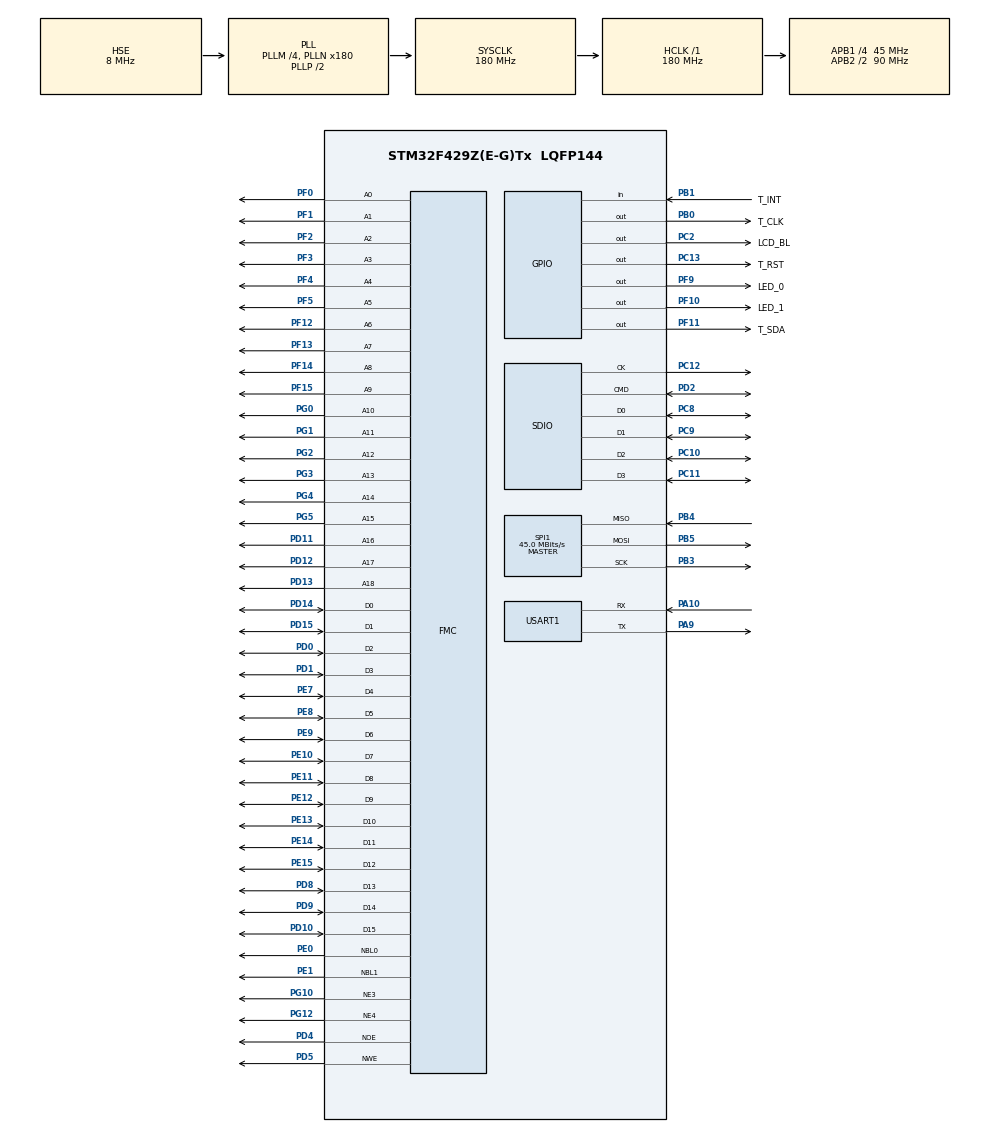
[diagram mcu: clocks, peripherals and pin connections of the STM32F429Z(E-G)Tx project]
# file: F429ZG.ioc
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DMA2D.ColorMode=DMA2D_OUTPUT_RGB565
DMA2D.Mode=DMA2D_M2M
Dma.Request0=SDIO_RX
Dma.Request1=SDIO_TX
Dma.SDIO_RX.0.Direction=DMA_PERIPH_TO_MEMORY
Dma.SDIO_RX.0.FIFOMode=DMA_FIFOMODE_ENABLE
Dma.SDIO_RX.0.FIFOThreshold=DMA_FIFO_THRESHOLD_FULL
Dma.SDIO_RX.0.Instance=DMA2_Stream3
Dma.SDIO_RX.0.MemBurst=DMA_MBURST_INC4
Dma.SDIO_RX.0.MemDataAlignment=DMA_MDATAALIGN_WORD
Dma.SDIO_RX.0.MemInc=DMA_MINC_ENABLE
Dma.SDIO_RX.0.Mode=DMA_PFCTRL
Dma.SDIO_RX.0.PeriphBurst=DMA_PBURST_INC4
Dma.SDIO_RX.0.PeriphDataAlignment=DMA_PDATAALIGN_WORD
Dma.SDIO_RX.0.PeriphInc=DMA_PINC_DISABLE
Dma.SDIO_RX.0.Priority=DMA_PRIORITY_VERY_HIGH
Dma.SDIO_TX.1.Direction=DMA_MEMORY_TO_PERIPH
Dma.SDIO_TX.1.FIFOMode=DMA_FIFOMODE_ENABLE
Dma.SDIO_TX.1.FIFOThreshold=DMA_FIFO_THRESHOLD_FULL
Dma.SDIO_TX.1.Instance=DMA2_Stream6
Dma.SDIO_TX.1.MemBurst=DMA_MBURST_INC4
Dma.SDIO_TX.1.MemDataAlignment=DMA_MDATAALIGN_WORD
Dma.SDIO_TX.1.MemInc=DMA_MINC_ENABLE
Dma.SDIO_TX.1.Mode=DMA_PFCTRL
Dma.SDIO_TX.1.PeriphBurst=DMA_PBURST_INC4
Dma.SDIO_TX.1.PeriphDataAlignment=DMA_PDATAALIGN_WORD
Dma.SDIO_TX.1.PeriphInc=DMA_PINC_DISABLE
Dma.SDIO_TX.1.Priority=DMA_PRIORITY_VERY_HIGH
FATFS._MAX_SS=4096
FMC.AddressSetupTime1=3
FMC.AddressSetupTime2=0
FMC.BusTurnAroundDuration1=0
FMC.BusTurnAroundDuration2=0
FMC.DataSetupTime1=3
FMC.DataSetupTime2=9
FMC.WriteOperation2=FMC_WRITE_OPERATION_ENABLE
FREERTOS.Tasks01=GUITask,8,1024,Lvgl_Task,Default,NULL,Dynamic,NULL,NULL;TouchTask,24,128,Touch_Task,Default,NULL,Dynamic,NULL,NULL
FREERTOS.configUSE_NEWLIB_REENTRANT=0
Mcu.Family=STM32F4
Mcu.Name=STM32F429Z(E-G)Tx
Mcu.Package=LQFP144
NVIC.DMA2D_IRQn=true\:5\:0\:false\:false\:true\:true\:true\:true
NVIC.DMA2_Stream3_IRQn=true\:5\:0\:false\:false\:true\:true\:false\:true
NVIC.DMA2_Stream6_IRQn=true\:5\:0\:false\:false\:true\:true\:false\:true
NVIC.PriorityGroup=NVIC_PRIORITYGROUP_4
NVIC.SDIO_IRQn=true\:5\:0\:false\:false\:true\:true\:true\:true
NVIC.TIM6_DAC_IRQn=true\:0\:0\:false\:false\:true\:false\:false\:true
NVIC.TimeBase=TIM6_DAC_IRQn
NVIC.TimeBaseIP=TIM6
PA10.Mode=Asynchronous
PA10.Signal=USART1_RX
PA13.Mode=Serial_Wire
PA13.Signal=SYS_JTMS-SWDIO
PA14.Mode=Serial_Wire
PA14.Signal=SYS_JTCK-SWCLK
PA9.Mode=Asynchronous
PA9.Signal=USART1_TX
PB0.GPIO_Label=T_CLK
PB0.GPIO_Speed=GPIO_SPEED_FREQ_HIGH
PB0.Signal=GPIO_Output
PB1.GPIO_Label=T_INT
PB1.Signal=GPIO_Input
PB3.Mode=Full_Duplex_Master
PB3.Signal=SPI1_SCK
PB4.Mode=Full_Duplex_Master
PB4.Signal=SPI1_MISO
PB5.Mode=Full_Duplex_Master
PB5.Signal=SPI1_MOSI
PC10.Mode=SD_4_bits_Wide_bus
PC10.Signal=SDIO_D2
PC11.Mode=SD_4_bits_Wide_bus
PC11.Signal=SDIO_D3
PC12.Mode=SD_4_bits_Wide_bus
PC12.Signal=SDIO_CK
PC13.GPIO_Label=T_RST
PC13.Signal=GPIO_Output
PC14/OSC32_IN.Mode=LSE-External-Clock-Source
PC14/OSC32_IN.Signal=RCC_OSC32_IN
PC15/OSC32_OUT.Mode=LSE-External-Clock-Source
PC15/OSC32_OUT.Signal=RCC_OSC32_OUT
PC2.GPIO_Label=LCD_BL
PC2.Signal=GPIO_Output
PC8.Mode=SD_4_bits_Wide_bus
PC8.Signal=SDIO_D0
PC9.Mode=SD_4_bits_Wide_bus
PC9.Signal=SDIO_D1
PD0.Signal=FMC_D2_DA2
PD1.Signal=FMC_D3_DA3
PD10.Signal=FMC_D15_DA15
PD11.Signal=FMC_A16_CLE
PD12.Signal=FMC_A17_ALE
PD13.Signal=FMC_A18
PD14.Signal=FMC_D0_DA0
PD15.Signal=FMC_D1_DA1
PD2.Mode=SD_4_bits_Wide_bus
PD2.Signal=SDIO_CMD
PD4.Signal=FMC_NOE
PD5.Signal=FMC_NWE
PD8.Signal=FMC_D13_DA13
PD9.Signal=FMC_D14_DA14
PE0.Signal=FMC_NBL0
PE1.Signal=FMC_NBL1
PE10.Signal=FMC_D7_DA7
PE11.Signal=FMC_D8_DA8
PE12.Signal=FMC_D9_DA9
PE13.Signal=FMC_D10_DA10
PE14.Signal=FMC_D11_DA11
PE15.Signal=FMC_D12_DA12
PE7.Signal=FMC_D4_DA4
PE8.Signal=FMC_D5_DA5
PE9.Signal=FMC_D6_DA6
PF0.Signal=FMC_A0
PF1.Signal=FMC_A1
PF10.GPIO_Label=LED_1
PF10.Signal=GPIO_Output
PF11.GPIO_Label=T_SDA
PF11.GPIO_ModeDefaultOutputPP=GPIO_MODE_OUTPUT_OD
PF11.GPIO_Speed=GPIO_SPEED_FREQ_HIGH
PF11.Signal=GPIO_Output
PF12.Signal=FMC_A6
PF13.Signal=FMC_A7
PF14.Signal=FMC_A8
PF15.Signal=FMC_A9
PF2.Signal=FMC_A2
PF3.Signal=FMC_A3
PF4.Signal=FMC_A4
PF5.Signal=FMC_A5
PF9.GPIO_Label=LED_0
PF9.Signal=GPIO_Output
PG0.Signal=FMC_A10
PG1.Signal=FMC_A11
PG10.Mode=NorPsramChipSelect3_2
PG10.Signal=FMC_NE3
PG12.Mode=NorPsramChipSelect4_1
PG12.Signal=FMC_NE4
PG2.Signal=FMC_A12
PG3.Signal=FMC_A13
PG4.Signal=FMC_A14_BA0
PG5.Signal=FMC_A15_BA1
PH0/OSC_IN.Mode=HSE-External-Oscillator
PH0/OSC_IN.Signal=RCC_OSC_IN
PH1/OSC_OUT.Mode=HSE-External-Oscillator
PH1/OSC_OUT.Signal=RCC_OSC_OUT
ProjectManager.HeapSize=0x400
ProjectManager.StackSize=0x800
ProjectManager.TargetToolchain=MDK-ARM V5.27
RCC.48MHZClocksFreq_Value=45000000
RCC.AHBFreq_Value=180000000
RCC.APB1CLKDivider=RCC_HCLK_DIV4
RCC.APB1Freq_Value=45000000
RCC.APB1TimFreq_Value=90000000
RCC.APB2CLKDivider=RCC_HCLK_DIV2
RCC.APB2Freq_Value=90000000
RCC.APB2TimFreq_Value=180000000
RCC.CortexFreq_Value=180000000
RCC.HCLKFreq_Value=180000000
RCC.HSE_VALUE=8000000
RCC.HSI_VALUE=16000000
RCC.LSE_VALUE=32768
RCC.PLLM=4
RCC.PLLN=180
RCC.PLLQ=8
RCC.PLLSourceVirtual=RCC_PLLSOURCE_HSE
RCC.SYSCLKFreq_VALUE=180000000
RCC.SYSCLKSource=RCC_SYSCLKSOURCE_PLLCLK
RCC.VCOOutputFreq_Value=360000000
SDIO.ClockDiv=8
SH.FMC_A0.0=FMC_A0,19b-a2
SH.FMC_A1.0=FMC_A1,19b-a2
SH.FMC_A10.0=FMC_A10,19b-a2
SH.FMC_A11.0=FMC_A11,19b-a2
SH.FMC_A12.0=FMC_A12,19b-a2
SH.FMC_A13.0=FMC_A13,19b-a2
SH.FMC_A14_BA0.0=FMC_A14,19b-a2
SH.FMC_A15_BA1.0=FMC_A15,19b-a2
SH.FMC_A16_CLE.0=FMC_A16,19b-a2
SH.FMC_A17_ALE.0=FMC_A17,19b-a2
SH.FMC_A18.0=FMC_A18,19b-a2
SH.FMC_A2.0=FMC_A2,19b-a2
SH.FMC_A3.0=FMC_A3,19b-a2
SH.FMC_A4.0=FMC_A4,19b-a2
SH.FMC_A5.0=FMC_A5,19b-a2
SH.FMC_A6.0=FMC_A6,A6_1
SH.FMC_A6.1=FMC_A6,19b-a2
SH.FMC_A7.0=FMC_A7,19b-a2
SH.FMC_A8.0=FMC_A8,19b-a2
SH.FMC_A9.0=FMC_A9,19b-a2
SH.FMC_D0_DA0.0=FMC_D0,16b-d1
SH.FMC_D0_DA0.1=FMC_D0,16b-d2
SH.FMC_D10_DA10.0=FMC_D10,16b-d1
SH.FMC_D10_DA10.1=FMC_D10,16b-d2
SH.FMC_D11_DA11.0=FMC_D11,16b-d1
SH.FMC_D11_DA11.1=FMC_D11,16b-d2
SH.FMC_D12_DA12.0=FMC_D12,16b-d1
SH.FMC_D12_DA12.1=FMC_D12,16b-d2
SH.FMC_D13_DA13.0=FMC_D13,16b-d1
SH.FMC_D13_DA13.1=FMC_D13,16b-d2
SH.FMC_D14_DA14.0=FMC_D14,16b-d1
SH.FMC_D14_DA14.1=FMC_D14,16b-d2
SH.FMC_D15_DA15.0=FMC_D15,16b-d1
SH.FMC_D15_DA15.1=FMC_D15,16b-d2
SH.FMC_D1_DA1.0=FMC_D1,16b-d1
SH.FMC_D1_DA1.1=FMC_D1,16b-d2
SH.FMC_D2_DA2.0=FMC_D2,16b-d1
SH.FMC_D2_DA2.1=FMC_D2,16b-d2
SH.FMC_D3_DA3.0=FMC_D3,16b-d1
SH.FMC_D3_DA3.1=FMC_D3,16b-d2
SH.FMC_D4_DA4.0=FMC_D4,16b-d1
SH.FMC_D4_DA4.1=FMC_D4,16b-d2
SH.FMC_D5_DA5.0=FMC_D5,16b-d1
SH.FMC_D5_DA5.1=FMC_D5,16b-d2
SH.FMC_D6_DA6.0=FMC_D6,16b-d1
SH.FMC_D6_DA6.1=FMC_D6,16b-d2
SH.FMC_D7_DA7.0=FMC_D7,16b-d1
SH.FMC_D7_DA7.1=FMC_D7,16b-d2
SH.FMC_D8_DA8.0=FMC_D8,16b-d1
SH.FMC_D8_DA8.1=FMC_D8,16b-d2
SH.FMC_D9_DA9.0=FMC_D9,16b-d1
SH.FMC_D9_DA9.1=FMC_D9,16b-d2
SH.FMC_NBL0.0=FMC_NBL0,2ByteEnable2
SH.FMC_NBL1.0=FMC_NBL1,2ByteEnable2
SH.FMC_NOE.0=FMC_NOE,Lcd1
SH.FMC_NOE.1=FMC_NOE,Sram2
SH.FMC_NWE.0=FMC_NWE,Lcd1
SH.FMC_NWE.1=FMC_NWE,Sram2
SPI1.CalculateBaudRate=45.0 MBits/s
SPI1.Direction=SPI_DIRECTION_2LINES
SPI1.Mode=SPI_MODE_MASTER
SPI1.VirtualType=VM_MASTER
TIM7.AutoReloadPreload=TIM_AUTORELOAD_PRELOAD_ENABLE
TIM7.Period=0xFFFF-1
TIM7.Prescaler=180-1
USART1.VirtualMode=VM_ASYNC
VP_DMA2D_VS_DMA2D.Mode=DMA2D_Activate
VP_FATFS_VS_SDIO.Mode=SDIO
VP_FREERTOS_VS_CMSIS_V2.Mode=CMSIS_V2
VP_SYS_VS_tim6.Mode=TIM6
VP_TIM7_VS_ClockSourceINT.Mode=Enable_Timer
board=custom

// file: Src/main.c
/* USER CODE BEGIN Header */
/**
  ******************************************************************************
  * @file           : main.c
  * @brief          : Main program body
  ******************************************************************************
  * @attention
  *
  * <h2><center>&copy; Copyright (c) 2020 STMicroelectronics.
  * All rights reserved.</center></h2>
  *
  * This software component is licensed by ST under BSD 3-Clause license,
  * the "License"; You may not use this file except in compliance with the
  * License. You may obtain a copy of the License at:
  *                        opensource.org/licenses/BSD-3-Clause
  *
  ******************************************************************************
  */
/* USER CODE END Header */

#include "main.h"
#include "cmsis_os.h"
#include "dma.h"
#include "dma2d.h"
#include "fatfs.h"
#include "sdio.h"
#include "spi.h"
#include "tim.h"
#include "usart.h"
#include "gpio.h"
#include "fmc.h"

void SystemClock_Config(void);
void MX_FREERTOS_Init(void);

int main(void)
{

  /* MCU Configuration--------------------------------------------------------*/

  /* Reset of all peripherals, Initializes the Flash interface and the Systick. */
  HAL_Init();

  /* Configure the system clock */
  SystemClock_Config();

  /* Initialize all configured peripherals */
  MX_GPIO_Init();
  MX_DMA_Init();
  MX_DMA2D_Init();
  MX_FMC_Init();
  MX_SPI1_Init();
  MX_USART1_UART_Init();
  MX_TIM7_Init();
  MX_SDIO_SD_Init();
  MX_FATFS_Init();
  /* USER CODE BEGIN 2 */
  //SD_Test();

  /* USER CODE END 2 */

  /* Init scheduler */
  osKernelInitialize();  /* Call init function for freertos objects (in freertos.c) */
  MX_FREERTOS_Init();
  /* Start scheduler */
  osKernelStart();

  /* We should never get here as control is now taken by the scheduler */
  /* Infinite loop */
  while (1)
  {

  }
}

void SystemClock_Config(void)
{
  RCC_OscInitTypeDef RCC_OscInitStruct = {0};
  RCC_ClkInitTypeDef RCC_ClkInitStruct = {0};

  /** Configure the main internal regulator output voltage
  */
  __HAL_RCC_PWR_CLK_ENABLE();
  __HAL_PWR_VOLTAGESCALING_CONFIG(PWR_REGULATOR_VOLTAGE_SCALE1);
  /** Initializes the CPU, AHB and APB busses clocks
  */
  RCC_OscInitStruct.OscillatorType = RCC_OSCILLATORTYPE_HSE;
  RCC_OscInitStruct.HSEState = RCC_HSE_ON;
  RCC_OscInitStruct.PLL.PLLState = RCC_PLL_ON;
  RCC_OscInitStruct.PLL.PLLSource = RCC_PLLSOURCE_HSE;
  RCC_OscInitStruct.PLL.PLLM = 4;
  RCC_OscInitStruct.PLL.PLLN = 180;
  RCC_OscInitStruct.PLL.PLLP = RCC_PLLP_DIV2;
  RCC_OscInitStruct.PLL.PLLQ = 8;
  if (HAL_RCC_OscConfig(&RCC_OscInitStruct) != HAL_OK)
  {
    Error_Handler();
  }
  /** Activate the Over-Drive mode
  */
  if (HAL_PWREx_EnableOverDrive() != HAL_OK)
  {
    Error_Handler();
  }
  /** Initializes the CPU, AHB and APB busses clocks
  */
  RCC_ClkInitStruct.ClockType = RCC_CLOCKTYPE_HCLK|RCC_CLOCKTYPE_SYSCLK
                              |RCC_CLOCKTYPE_PCLK1|RCC_CLOCKTYPE_PCLK2;
  RCC_ClkInitStruct.SYSCLKSource = RCC_SYSCLKSOURCE_PLLCLK;
  RCC_ClkInitStruct.AHBCLKDivider = RCC_SYSCLK_DIV1;
  RCC_ClkInitStruct.APB1CLKDivider = RCC_HCLK_DIV4;
  RCC_ClkInitStruct.APB2CLKDivider = RCC_HCLK_DIV2;

  if (HAL_RCC_ClockConfig(&RCC_ClkInitStruct, FLASH_LATENCY_5) != HAL_OK)
  {
    Error_Handler();
  }
}

 /**
  * @brief  Period elapsed callback in non blocking mode
  * @note   This function is called  when TIM6 interrupt took place, inside
  * HAL_TIM_IRQHandler(). It makes a direct call to HAL_IncTick() to increment
  * a global variable "uwTick" used as application time base.
  * @param  htim : TIM handle
  * @retval None
  */
void HAL_TIM_PeriodElapsedCallback(TIM_HandleTypeDef *htim)
{
  if (htim->Instance == TIM6) {
    HAL_IncTick();
  }
}

void Error_Handler(void)
{
}

/************************ (C) COPYRIGHT STMicroelectronics *****END OF FILE****/

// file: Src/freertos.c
/* USER CODE BEGIN Header */
/**
  ******************************************************************************
  * File Name          : freertos.c
  * Description        : Code for freertos applications
  ******************************************************************************
  * @attention
  *
  * <h2><center>&copy; Copyright (c) 2020 STMicroelectronics.
  * All rights reserved.</center></h2>
  *
  * This software component is licensed by ST under Ultimate Liberty license
  * SLA0044, the "License"; You may not use this file except in compliance with
  * the License. You may obtain a copy of the License at:
  *                             www.st.com/SLA0044
  *
  ******************************************************************************
  */
/* USER CODE END Header */

#include "FreeRTOS.h"
#include "task.h"
#include "main.h"
#include "cmsis_os.h"

/* USER CODE BEGIN Includes */
#include "string.h"
#include "lvgl.h"
#include "lv_examples.h"
#include "lv_box.h"
#include "ILI9488.h"
#include "gt5xx.h"
#include "dma2d.h"
/* USER CODE END Includes */

/* USER CODE BEGIN PTD */
extern DMA2D_HandleTypeDef hdma2d;
/* USER CODE END PTD */

/* Definitions for GUITask */
osThreadId_t GUITaskHandle;
const osThreadAttr_t GUITask_attributes = {
  .name = "GUITask",
  .priority = (osPriority_t) osPriorityLow,
  .stack_size = 1024 * 4
};
/* Definitions for TouchTask */
osThreadId_t TouchTaskHandle;
const osThreadAttr_t TouchTask_attributes = {
  .name = "TouchTask",
  .priority = (osPriority_t) osPriorityNormal,
  .stack_size = 128 * 4
};

void Lvgl_Task(void *argument);
void Touch_Task(void *argument);

void MX_FREERTOS_Init(void); /* (MISRA C 2004 rule 8.1) */

void MX_FREERTOS_Init(void) {
  /* USER CODE BEGIN Init */
  lv_init();
  //lv_port_fs_init();
  lv_port_disp_init();
  lv_port_indev_init();
  /* USER CODE END Init */

  /* Create the thread(s) */
  /* creation of GUITask */
  GUITaskHandle = osThreadNew(Lvgl_Task, NULL, &GUITask_attributes);

  /* creation of TouchTask */
  TouchTaskHandle = osThreadNew(Touch_Task, NULL, &TouchTask_attributes);

}

void Lvgl_Task(void *argument)
{
  /* USER CODE BEGIN Lvgl_Task */
  lv_demo_widgets();
  //fatfs_test();
  /* Infinite loop */
  for (;;)
  {
    lv_task_handler();
    osDelay(10);
  }
  /* USER CODE END Lvgl_Task */
}

void Touch_Task(void *argument)
{
  /* USER CODE BEGIN Touch_Task */
  /* Infinite loop */
  for (;;)
  {
    GTP_TouchProcess();
    osDelay(30);
  }
  /* USER CODE END Touch_Task */
}

/************************ (C) COPYRIGHT STMicroelectronics *****END OF FILE****/
